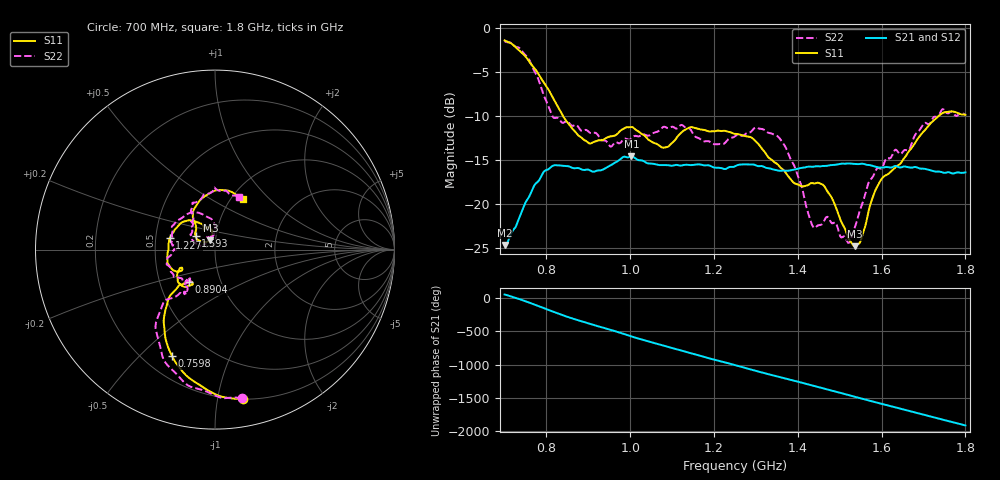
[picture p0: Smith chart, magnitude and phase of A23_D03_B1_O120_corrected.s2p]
! Created with skrf 1.9.0 (http://scikit-rf.org).
# Hz S RI R 50.0
!freq ReS11 ImS11 ReS21 ImS21 ReS12 ImS12 ReS22 ImS22
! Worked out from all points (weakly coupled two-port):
!   1601 points, 700 MHz to 1.8 GHz, reference 50 ohm
!   highest |S21| = -14.58 dB at 1.002 GHz (marker M1); lowest = -24.6 dB at 700.7 MHz (marker M2)
!   lowest |S11| = -24.8 dB at 1.536 GHz (marker M3), VSWR 1.12, Z = 47.2 + j4.91 ohm
!   |S11| at or under -10 dB: 839.6 MHz to 1.736 GHz (896.1 MHz wide, 69.6 % of centre)
!   |S22| runs from -24.4 to -1.5 dB; largest |S21 - S12| = 0.0035
!   S11 on the Smith chart (normalised r, x): 700 MHz: 0.20, -1.19; 759.8 MHz: 0.31, -0.63; 890.4 MHz: 0.70, -0.27; 1.227 GHz: 0.59, +0.08; 1.593 GHz: 0.80, +0.12; 1.8 GHz: 1.13, +0.71
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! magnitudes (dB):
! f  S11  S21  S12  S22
! 700 MHz  -1.4  -24.6  -24.4  -1.5
! 700.7 MHz  -1.4  -24.6  -24.3  -1.5
! 759.8 MHz  -3.9  -19.0  -18.9  -3.7
! 814.8 MHz  -7.9  -15.6  -15.7  -10.1
! 883.6 MHz  -12.5  -16.0  -15.9  -11.7
! 890.4 MHz  -12.7  -16.1  -16.1  -11.6
! 953 MHz  -12.3  -15.6  -15.6  -13.5
! 1.002 GHz  -11.2  -14.6  -14.7  -12.5
! 1.067 GHz  -13.3  -15.5  -15.5  -11.7
! 1.143 GHz  -11.3  -15.6  -15.5  -11.5
! 1.227 GHz  -11.7  -16.0  -15.9  -13.0
! 1.25 GHz  -12.0  -15.7  -15.6  -12.3
! 1.356 GHz  -15.7  -16.2  -16.1  -12.5
! 1.394 GHz  -17.7  -16.0  -16.0  -15.9
! 1.434 GHz  -17.6  -15.8  -15.7  -22.3
! 1.465 GHz  -18.1  -15.7  -15.6  -21.6
! 1.52 GHz  -23.8  -15.4  -15.4  -24.4
! 1.536 GHz  -24.8  -15.4  -15.4  -22.6
! 1.593 GHz  -17.7  -15.8  -15.8  -15.9
! 1.617 GHz  -16.5  -15.8  -15.8  -14.8
! 1.74 GHz  -9.8  -16.3  -16.3  -9.6
! 1.8 GHz  -9.9  -16.4  -16.4  -9.9
